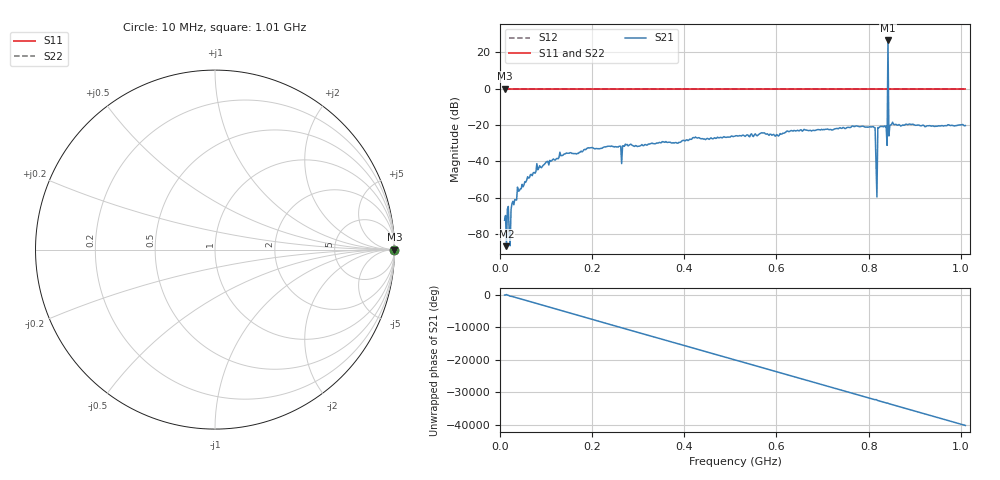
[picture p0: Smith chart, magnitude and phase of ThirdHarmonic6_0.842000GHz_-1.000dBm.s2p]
! 8/16/2025 3:54:51 AM
! C:\ANRITSUVNA\TEMP\TEMP.S2P
! CHANNEL.1
! TR.MEASUREMENT
! RAW.DATA
! RF.CORRECTION.OFF
! AVERAGING.OFF
! IF.BANDWIDTH: 5KHZ
! SWEEPTYPE:  FREQ.SWEEP(Linear)
! Reference Plane Port Info
! PORT:  PORT1  PORT2
! DISTANCE:  0  m  0  m
! TIME:  0  s  0  s
! PHASE.OFFSET:  0  deg.  0  deg.
! LOSS:  0  dB  0  dB
! REF.LOSS:  0  dB  0  dB
! REF.FREQ:  0  Hz  0  Hz
! Power Info
! POWER:  -20  dBm  -20  dBm
! EFF.POWER:  -20  dBm  -20  dBm
! SOURCE.ATTEN:  0  dB  0  dB
! TEST.ATTEN:  0  dB  0  dB
# GHZ S RI R 50.0
! FREQ.GHZ  S11RE  S11IM  S21RE  S21IM  S12RE  S12IM  S22RE  S22IM
!; PortSelection: Port_12
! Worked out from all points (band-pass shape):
!   501 points, 10 MHz to 1.01 GHz, reference 50 ohm
!   highest |S21| = 26.42 dB at 842 MHz (marker M1); lowest = -86.6 dB at 14 MHz (marker M2)
!   |S21| within 3 dB of the highest: 841.8959 MHz to 842.1143 MHz (218.4 kHz wide, 0.0259 % of centre)
!   lowest |S11| = 0.0 dB at 10 MHz (marker M3)
!   |S11| at or under -10 dB: nowhere
!   |S22| runs from 0.0 to 0.0 dB; largest |S21 - S12| = 22
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0.01  1 0  0.000159 -0.000182  1 0  1 0
0.014  1 0  -8.4e-06 4.6e-05  1 0  1 0
0.018  1 0  -0.000378 -0.000435  1 0  1 0
0.028  1 0  -0.000771 0.000204  1 0  1 0
0.042  1 0  0.00119 -0.00102  1 0  1 0
0.084  1 0  0.00478 0.00436  1 0  1 0
0.178  1 0  -0.0181 -0.00167  1 0  1 0
0.344  1 0  0.0294 -0.0129  1 0  1 0
0.51  1 0  -0.0374 0.0323  1 0  1 0
0.678  1 0  -0.0599 -0.0374  1 0  1 0
0.81  1 0  0.0162 -0.0886  1 0  1 0
0.814  1 0  -0.0425 0.072  1 0  1 0
0.818  1 0  0.000903 0.000533  1 0  1 0
0.82  1 0  -0.0461 -0.0713  1 0  1 0
0.824  1 0  0.0114 0.0876  1 0  1 0
0.836  1 0  0.0658 -0.0597  1 0  1 0
0.838  1 0  -0.0508 -0.0801  1 0  1 0
0.842  1 0  -17.61 11.35  1 0  1 0
0.844  1 0  0.0492 -0.00724  1 0  1 0
0.846  1 0  0.00492 -0.0963  1 0  1 0
0.848  1 0  -0.0966 -0.024  1 0  1 0
1.01  1 0  -0.0613 0.0739  1 0  1 0
